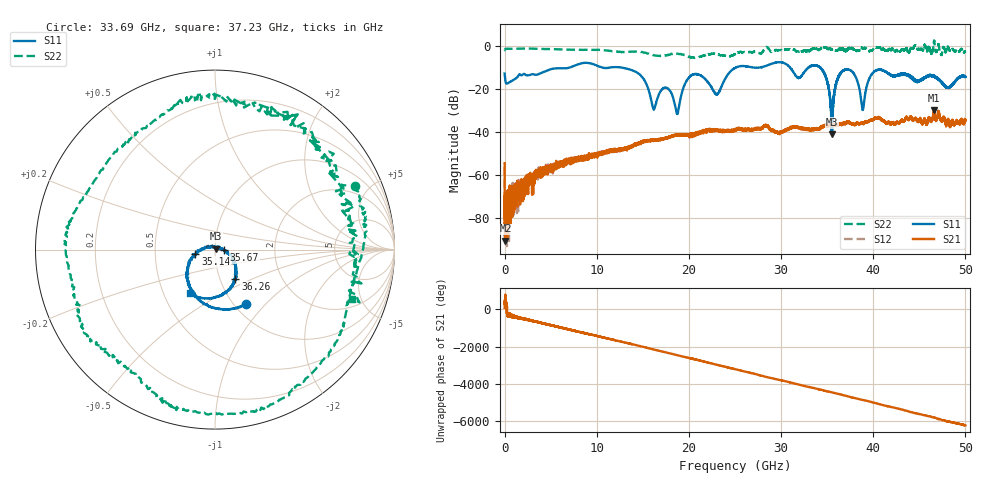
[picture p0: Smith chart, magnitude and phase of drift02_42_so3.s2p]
!Created with skrf (http://scikit-rf.org).
# Hz S RI R 50.0
!freq ReS11 ImS11 ReS21 ImS21 ReS12 ImS12 ReS22 ImS22
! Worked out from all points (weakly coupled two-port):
!   10001 points, 300 kHz to 50 GHz, reference 50 ohm
!   highest |S21| = -30.08 dB at 46.6 GHz (marker M1); lowest = -90.5 dB at 95.3 MHz (marker M2)
!   lowest |S11| = -41.2 dB at 35.54 GHz (marker M3), VSWR 1.02, Z = 50.7 + j0.574 ohm
!   |S11| at or under -10 dB: start of sweep to 7.18 GHz; 12.36 GHz to 25.17 GHz (12.81 GHz wide, 68.3 % of centre); 34.22 GHz to end of sweep (the widest 3 of 17)
!   |S22| runs from -5.7 to 2.4 dB; largest |S21 - S12| = 0.0032
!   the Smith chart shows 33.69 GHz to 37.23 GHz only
!   S11 on the Smith chart (normalised r, x): 33.69 GHz: 1.14, -0.78; 35.14 GHz: 0.80, -0.04; 35.67 GHz: 1.11, -0.00; 36.26 GHz: 1.18, -0.40; 37.23 GHz: 0.68, -0.36
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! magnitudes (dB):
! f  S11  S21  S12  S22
! 300 kHz  -12.9  -54.6  -56.4  -2.1
! 95.3 MHz  -16.7  -90.5  -82.5  -1.5
! 8.335 GHz  -8.2  -52.1  -52.5  -1.9
! 14.03 GHz  -11.7  -46.5  -46.1  -2.8
! 16.15 GHz  -29.3  -43.7  -43.7  -4.5
! 16.67 GHz  -23.3  -43.9  -43.8  -4.7
! 18.74 GHz  -31.7  -41.5  -41.4  -3.7
! 20.24 GHz  -13.9  -41.2  -41.6  -5.4
! 23.04 GHz  -22.6  -39.1  -39.2  -4.1
! 25 GHz  -10.4  -38.8  -39.1  -3.9
! 33.34 GHz  -9.2  -38.9  -38.9  -1.6
! 33.69 GHz  -9.1  -38.6  -38.4  -1.3
! 35.14 GHz  -19.1  -37.1  -36.9  -1.6
! 35.54 GHz  -41.2  -36.9  -36.7  -1.7
! 35.67 GHz  -25.8  -36.9  -37.0  -1.6
! 36.26 GHz  -14.1  -36.9  -36.4  -1.7
! 37.23 GHz  -11.0  -35.5  -35.5  -1.8
! 38.86 GHz  -29.9  -36.1  -36.1  -1.3
! 39.95 GHz  -12.7  -34.4  -34.5  -2.0
! 41.67 GHz  -13.0  -35.7  -35.9  -1.8
! 46.6 GHz  -14.3  -30.1  -30.2  1.9
! 50 GHz  -14.6  -34.8  -34.9  -2.8
